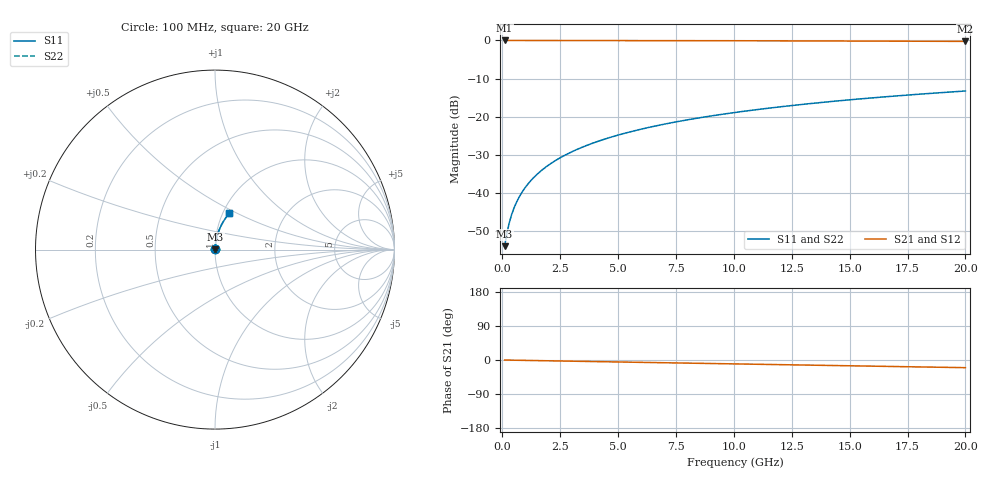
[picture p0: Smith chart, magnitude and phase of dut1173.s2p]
! Touchstone file exported from HFSS 2026.1.0
!  File:  C:/ffzhzh/LocalFiles/Ansys_Project_Files/temp_train_TMRDL_1173_1783162496_51560.aedt
!  Generated:  06:56:13 PM Jul  4, 2026
!  Design:  TMRDL
!  Project:  temp_train_TMRDL_1173_1783162496_51560
! Variables:
!  h_bsmrdl = 2um
!  h_ox = 20um
!  h_rdl = 5um
!  h_sub = 80um
!  h_tmrdl = 2.7um
!  h_tsv = 80um
!  h_via = 3um
!  l_bsmrdl = 300um
!  l_sub = 637.03um
!  l_tmrdl = 237.03um
!  m_sub = 200um
!  pitch = 55.59um
!  r_tsv = 6um
!  s_tmrdl = 10um
!  w_bsmrdl = 18um
!  w_sub = 500um
!  w_tmrdl = 24.68um
!  x_tsv_center1 = 249.37um
!  x_tsv_center2 = 567.37um
!  x_tsv_center3 = 829.08um
!  x_tsv_center4 = 1147.08um
!  x_tsv_center5 = 1408.79um
!  x_tsv_center6 = 1726.79um
# GHz S MA R 50.000000
! Terminal data exported
! Port[1] = TM_RDL1_1_T1
! Port[2] = TM_RDL1_1_T2
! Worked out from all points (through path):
!   200 points, 100 MHz to 20 GHz, reference 50 ohm
!   highest |S21| = -0.01 dB at 100 MHz (marker M1); lowest = -0.3 dB at 20 GHz (marker M2)
!   group delay of S21, straight-line fit = 2.81 ps
!   lowest |S11| = -53.9 dB at 100 MHz (marker M3), VSWR 1.00, Z = 50.2 + j0.125 ohm
!   |S11| at or under -10 dB: start of sweep to end of sweep
!   |S22| runs from -53.9 to -13.3 dB; largest |S21 - S12| = 3.5e-15
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0.1  0.002009 38.4  0.9984 -0.1  0.9984 -0.1  0.002009 38.4
! Gamma 0 0 0 0
! Port Impedance 50 0 50 0
0.2  0.002965 56.6  0.9984 -0.2  0.9984 -0.2  0.002965 56.6
0.3  0.004053 65.1  0.9983 -0.3  0.9983 -0.3  0.004053 65.1
0.4  0.005168 69.7  0.9982 -0.4  0.9982 -0.4  0.005168 69.7
0.5  0.006287 72.7  0.9982 -0.5  0.9982 -0.5  0.006287 72.7
0.6  0.007406 74.8  0.9981 -0.6  0.9981 -0.6  0.007406 74.8
0.8  0.009648 77.6  0.998 -0.8  0.998 -0.8  0.009647 77.6
1.1  0.01303 80.0  0.9979 -1.2  0.9979 -1.2  0.01303 80.0
1.3  0.01529 81.0  0.9979 -1.4  0.9979 -1.4  0.01529 81.0
1.6  0.01869 82.0  0.9978 -1.7  0.9978 -1.7  0.01869 82.0
2.1  0.02439 82.8  0.9976 -2.2  0.9976 -2.2  0.02439 82.8
2.7  0.03124 83.2  0.9973 -2.8  0.9973 -2.8  0.03124 83.2
3.5  0.04036 83.1  0.9969 -3.6  0.9969 -3.6  0.04036 83.1
4.2  0.04833 82.8  0.9964 -4.4  0.9964 -4.4  0.04833 82.8
5  0.05741 82.3  0.9958 -5.2  0.9958 -5.2  0.05741 82.3
5.9  0.06757 81.6  0.995 -6.1  0.995 -6.1  0.06757 81.6
6.8  0.07768 80.8  0.9941 -7.0  0.9941 -7.0  0.07768 80.8
8.3  0.09438 79.5  0.9924 -8.6  0.9924 -8.6  0.09438 79.5
10.1  0.1142 77.8  0.9899 -10.4  0.9899 -10.4  0.1142 77.8
13.4  0.1496 74.6  0.9845 -13.7  0.9845 -13.7  0.1496 74.7
16.7  0.184 71.5  0.9781 -17.0  0.9781 -17.0  0.184 71.5
20  0.2171 68.4  0.9709 -20.2  0.9709 -20.2  0.2171 68.4
